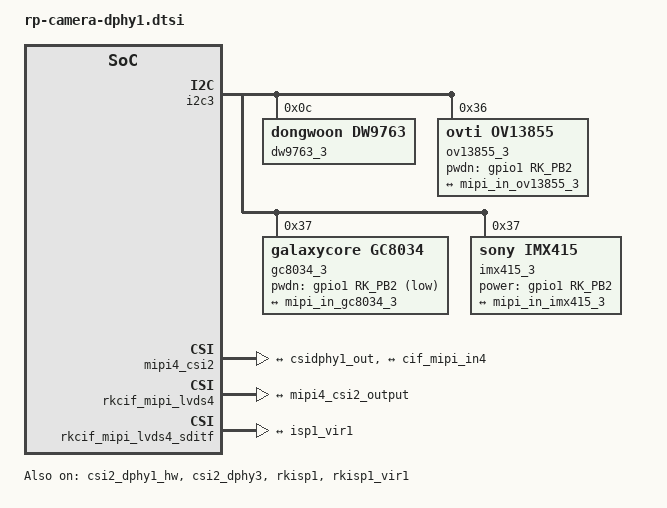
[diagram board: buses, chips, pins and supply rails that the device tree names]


&i2c3 {
	status = "okay";
	pinctrl-names = "default";
	pinctrl-0 = <&i2c3m0_xfer>;

	dw9763_3: dw9763_3@c {
                compatible = "dongwoon,dw9763";
                status = "okay";
                reg = <0x0c>;
                rockchip,vcm-max-current = <120>;   
                rockchip,vcm-start-current = <20>;   
                rockchip,vcm-rated-current = <90>;  
                rockchip,vcm-step-mode = <3>;     
                rockchip,vcm-t-src = <0x20>;
                rockchip,vcm-t-div = <1>;
                rockchip,camera-module-index = <3>;    
                rockchip,camera-module-facing = "back";  
        };
  
	ov13855_3: ov13855_3@36 {
		compatible = "ovti,ov13855";
		status = "okay";
		reg = <0x36>;
		clocks = <&cru CLK_MIPI_CAMARAOUT_M4>;
		clock-names = "xvclk";
		power-domains = <&power RK3588_PD_VI>;
		pinctrl-names = "default";
		pinctrl-0 = <&mipim0_camera4_clk>;
		rockchip,grf = <&sys_grf>;
		pwdn-gpios = <&gpio1 RK_PB2 GPIO_ACTIVE_HIGH>;
		rockchip,camera-module-index = <3>;
		rockchip,camera-module-facing = "back";
		rockchip,camera-module-name = "CMK-OT2016-FV1";
		rockchip,camera-module-lens-name = "default";
		lens-focus = <&dw9763_3>;
		port {
			ov13855_out3: endpoint {
				remote-endpoint = <&mipi_in_ov13855_3>;
				data-lanes = <1 2 3 4>;
			};
		};
	};
        gc8034_3: gc8034_3@37 { 
                compatible = "galaxycore,gc8034";
                status = "okay";
                reg = <0x37>;
                clocks = <&cru CLK_MIPI_CAMARAOUT_M4>;
                clock-names = "xvclk";
                power-domains = <&power RK3588_PD_VI>;
                pinctrl-names = "default";
                pinctrl-0 = <&mipim0_camera4_clk>;
                rockchip,grf = <&sys_grf>;
                pwdn-gpios = <&gpio1 RK_PB2 GPIO_ACTIVE_LOW>;
                rockchip,camera-module-index = <3>;
                rockchip,camera-module-facing = "back";
                rockchip,camera-module-name = "RK-CMK-8M-2-v1";
                rockchip,camera-module-lens-name = "CK8401-4";
                port {
                        gc8034_out3: endpoint {
                                remote-endpoint = <&mipi_in_gc8034_3>;
                                data-lanes = <1 2 3 4>;
                        };
                };
        };
        imx415_3: imx415_3@37 {
                compatible = "sony,imx415";
                status = "okay";
                reg = <0x37>;
                clocks = <&cru CLK_MIPI_CAMARAOUT_M4>;
                clock-names = "xvclk";
                power-domains = <&power RK3588_PD_VI>;
                pinctrl-names = "default";
                pinctrl-0 = <&mipim0_camera4_clk>;
                rockchip,grf = <&sys_grf>;
              	power-gpios = <&gpio1 RK_PB2 GPIO_ACTIVE_HIGH>;//modify camera addr 0x37
                rockchip,camera-module-index = <3>;
                rockchip,camera-module-facing = "back";
                rockchip,camera-module-name = "CMK-OT2022-PX1";
                rockchip,camera-module-lens-name = "IR0147-50IRC-8M-F20";
                port {
                        imx415_out3: endpoint {
                                remote-endpoint = <&mipi_in_imx415_3>;
                                data-lanes = <1 2 3 4>;
                        };
                };
        };
};


&csi2_dphy1_hw {
	status = "okay";
};

&csi2_dphy3 {
	status = "okay";
	ports {
		#address-cells = <1>;
		#size-cells = <0>;
		port@0 {
			reg = <0>;
			#address-cells = <1>;
			#size-cells = <0>;
			mipi_in_ov13855_3: endpoint@1 {
				reg = <1>;
				remote-endpoint = <&ov13855_out3>;
				data-lanes = <1 2 3 4>;
			};
			mipi_in_gc8034_3: endpoint@2 {
				reg = <2>;
				remote-endpoint = <&gc8034_out3>;
				data-lanes = <1 2 3 4>;
			};
			mipi_in_imx415_3: endpoint@3 {
				reg = <3>;
				remote-endpoint = <&imx415_out3>;
				data-lanes = <1 2 3 4>;
			};
		};
		port@1 {
			reg = <1>;
			#address-cells = <1>;
			#size-cells = <0>;
			csidphy1_out: endpoint@0 {
				reg = <0>;
				remote-endpoint = <&mipi4_csi2_input>;
			};
		};
	};
};

&mipi4_csi2 {
	status = "okay";
	ports {
		#address-cells = <1>;
		#size-cells = <0>;
		port@0 {
			reg = <0>;
			#address-cells = <1>;
			#size-cells = <0>;
			mipi4_csi2_input: endpoint@1 {
				reg = <1>;
				remote-endpoint = <&csidphy1_out>;
			};
		};
		port@1 {
			reg = <1>;
			#address-cells = <1>;
			#size-cells = <0>;
			mipi4_csi2_output: endpoint@0 {
				reg = <0>;
				remote-endpoint = <&cif_mipi_in4>;
			};
		};
	};
};


&rkcif_mipi_lvds4 {
	status = "okay";
	port {
		cif_mipi_in4: endpoint {
			remote-endpoint = <&mipi4_csi2_output>;
		};
	};
};

&rkcif_mipi_lvds4_sditf {
	status = "okay";
	port {
		mipi4_lvds_sditf: endpoint {
			remote-endpoint = <&isp1_vir1>;
		};
	};
};

&rkisp1 {
	status = "okay";
};

&isp1_mmu {
	status = "okay";
};

&rkisp1_vir1 {
	status = "okay";
	port {
		#address-cells = <1>;
		#size-cells = <0>;

		isp1_vir1: endpoint@0 {
			reg = <0>;
			remote-endpoint = <&mipi4_lvds_sditf>;
		};
	};
};

